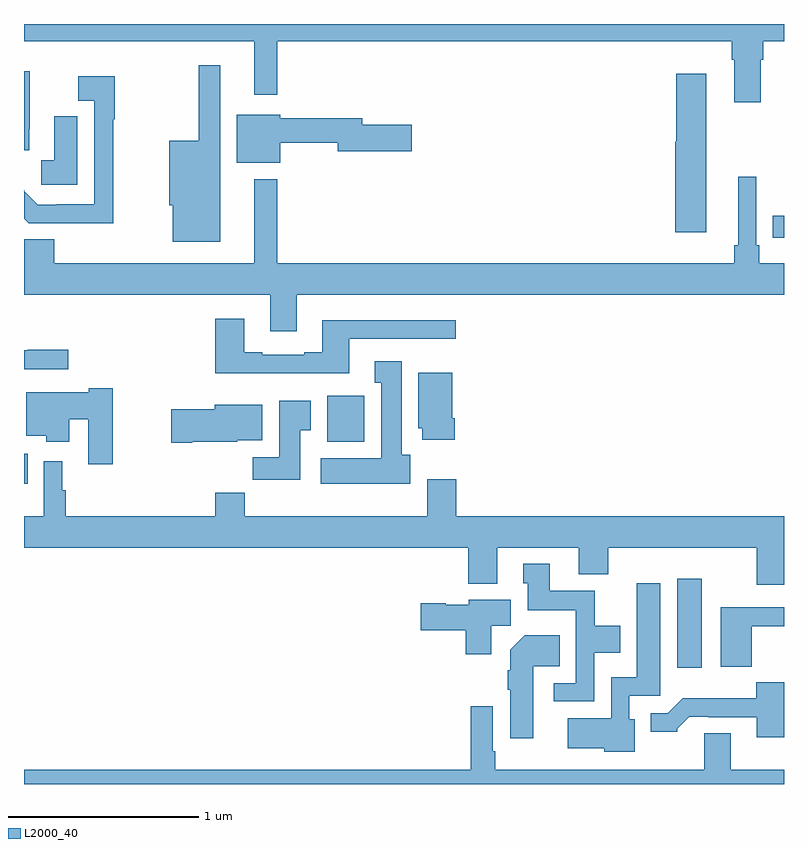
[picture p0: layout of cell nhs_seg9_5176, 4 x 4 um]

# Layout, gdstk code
import gdstk
lib = gdstk.Library(unit=1e-6, precision=1e-09)
def R(c, l, rs):  # rectangles x0, y0, x1, y1
    for r in rs: c.add(gdstk.rectangle(r[:2], r[2:], *l))
def P(c, l, *ps):  # polygons
    for p in ps: c.add(gdstk.Polygon(p, *l))
L2000_40 = (2000, 40)

nhs_seg9_5176 = lib.new_cell('nhs_seg9_5176')
R(nhs_seg9_5176, L2000_40, [(414.437,1205.112,414.568,1205.581), (411,1206.08,411.02,1206.238), (412.595,1206.302,412.792,1206.544), (414.94,1207.374,415,1207.49)])
P(nhs_seg9_5176, L2000_40, [(414.877,1208.312),(414.89,1208.312),(414.89,1208.408),(415,1208.408),(415,1208.5),(411,1208.5),(411,1208.408),(412.211,1208.408),(412.211,1208.127),(412.333,1208.127),(412.333,1208.408),(414.725,1208.408),(414.725,1208.312),(414.737,1208.312),(414.737,1208.088),(414.877,1208.088)],
  [(412.033,1208.284),(411.919,1208.284),(411.919,1207.885),(411.764,1207.885),(411.764,1207.545),(411.782,1207.545),(411.782,1207.355),(412.033,1207.355)],
  [(411.028,1207.948),(411.031,1207.948),(411.031,1208.251),(411,1208.251),(411,1207.836),(411.028,1207.836)],
  [(414.592,1208.239),(414.434,1208.239),(414.434,1207.881),(414.428,1207.881),(414.428,1207.404),(414.592,1207.404)],
  [(411.47,1208),(411.478,1208),(411.478,1208.224),(411.286,1208.224),(411.286,1208.096),(411.369,1208.096),(411.369,1207.552),(411.172,1207.552),(411.172,1207.548),(411.072,1207.548),(411,1207.62),(411.003,1207.623),(411,1207.626),(411,1207.476),(411.025,1207.451),(411.47,1207.451)],
  [(412.348,1207.876),(412.652,1207.876),(412.652,1207.829),(413.041,1207.829),(413.041,1207.971),(412.78,1207.971),(412.78,1208.005),(412.348,1208.005),(412.348,1208.023),(412.121,1208.023),(412.121,1207.769),(412.348,1207.769)],
  [(411.28,1208.015),(411.158,1208.015),(411.158,1207.783),(411.09,1207.783),(411.09,1207.654),(411.28,1207.654)],
  [(412.435,1207.076),(415,1207.076),(415,1207.24),(414.869,1207.24),(414.869,1207.336),(414.855,1207.336),(414.855,1207.696),(414.758,1207.696),(414.758,1207.336),(414.739,1207.336),(414.739,1207.24),(412.333,1207.24),(412.333,1207.684),(412.211,1207.684),(412.211,1207.24),(411.16,1207.24),(411.16,1207.366),(411,1207.366),(411,1207.076),(412.295,1207.076),(412.295,1206.882),(412.435,1206.882)],
  [(412.711,1206.843),(413.272,1206.843),(413.272,1206.94),(412.571,1206.94),(412.571,1206.772),(412.475,1206.772),(412.475,1206.759),(412.255,1206.759),(412.255,1206.772),(412.159,1206.772),(412.159,1206.949),(412.007,1206.949),(412.007,1206.662),(412.711,1206.662)],
  [(411.232,1206.785),(411.019,1206.785),(411.019,1206.782),(411,1206.782),(411,1206.684),(411.232,1206.684)],
  [(413.032,1206.234),(412.987,1206.234),(412.987,1206.724),(412.847,1206.724),(412.847,1206.611),(412.88,1206.611),(412.88,1206.214),(412.563,1206.214),(412.563,1206.08),(413.032,1206.08)],
  [(413.267,1206.424),(413.254,1206.424),(413.254,1206.664),(413.075,1206.664),(413.075,1206.372),(413.096,1206.372),(413.096,1206.312),(413.267,1206.312)],
  [(411.468,1206.584),(411.342,1206.584),(411.342,1206.562),(411.011,1206.562),(411.011,1206.332),(411.116,1206.332),(411.116,1206.302),(411.238,1206.302),(411.238,1206.419),(411.338,1206.419),(411.338,1206.183),(411.468,1206.183)],
  [(412.453,1206.361),(412.51,1206.361),(412.51,1206.517),(412.343,1206.517),(412.343,1206.22),(412.204,1206.22),(412.204,1206.102),(412.453,1206.102)],
  [(411.886,1206.302),(412.122,1206.302),(412.122,1206.308),(412.255,1206.308),(412.255,1206.496),(412.004,1206.496),(412.004,1206.473),(411.774,1206.473),(411.774,1206.295),(411.886,1206.295)],
  [(415,1205.908),(413.276,1205.908),(413.276,1206.103),(413.123,1206.103),(413.123,1205.908),(412.163,1205.908),(412.163,1206.032),(412.007,1206.032),(412.007,1205.908),(411.221,1205.908),(411.221,1206.045),(411.202,1206.045),(411.202,1206.199),(411.105,1206.199),(411.105,1205.908),(411,1205.908),(411,1205.744),(413.339,1205.744),(413.339,1205.555),(413.491,1205.555),(413.491,1205.744),(413.921,1205.744),(413.921,1205.603),(414.074,1205.603),(414.074,1205.744),(414.857,1205.744),(414.857,1205.55),(415,1205.55)],
  [(414,1205.192),(414.139,1205.192),(414.139,1205.332),(414.003,1205.332),(414.003,1205.518),(413.767,1205.518),(413.767,1205.659),(413.627,1205.659),(413.627,1205.556),(413.651,1205.556),(413.651,1205.414),(413.904,1205.414),(413.904,1205.031),(413.787,1205.031),(413.787,1204.935),(414,1204.935)],
  [(414.214,1204.842),(414.186,1204.842),(414.186,1204.965),(414.349,1204.965),(414.349,1205.557),(414.224,1205.557),(414.224,1205.062),(414.09,1205.062),(414.09,1204.846),(413.862,1204.846),(413.862,1204.688),(414.054,1204.688),(414.054,1204.67),(414.214,1204.67)],
  [(413.458,1205.332),(413.563,1205.332),(413.563,1205.47),(413.34,1205.47),(413.34,1205.443),(413.22,1205.443),(413.22,1205.451),(413.088,1205.451),(413.088,1205.309),(413.324,1205.309),(413.324,1205.184),(413.458,1205.184)],
  [(414.83,1205.329),(415,1205.329),(415,1205.43),(414.668,1205.43),(414.668,1205.117),(414.83,1205.117)],
  [(413.68,1205.12),(413.819,1205.12),(413.819,1205.284),(413.636,1205.284),(413.558,1205.206),(413.558,1205.099),(413.546,1205.099),(413.546,1204.996),(413.558,1204.996),(413.558,1204.74),(413.68,1204.74)],
  [(415,1205.035),(414.855,1205.035),(414.855,1204.951),(414.466,1204.951),(414.387,1204.872),(414.299,1204.872),(414.299,1204.775),(414.438,1204.775),(414.438,1204.79),(414.502,1204.854),(414.601,1204.854),(414.601,1204.851),(414.857,1204.851),(414.857,1204.746),(415,1204.746)],
  [(415,1204.576),(414.721,1204.576),(414.721,1204.766),(414.581,1204.766),(414.581,1204.576),(413.479,1204.576),(413.479,1204.672),(413.466,1204.672),(413.466,1204.909),(413.35,1204.909),(413.35,1204.576),(411,1204.576),(411,1204.5),(415,1204.5)])

lib.write_gds('nhs_seg9_5176.gds')
